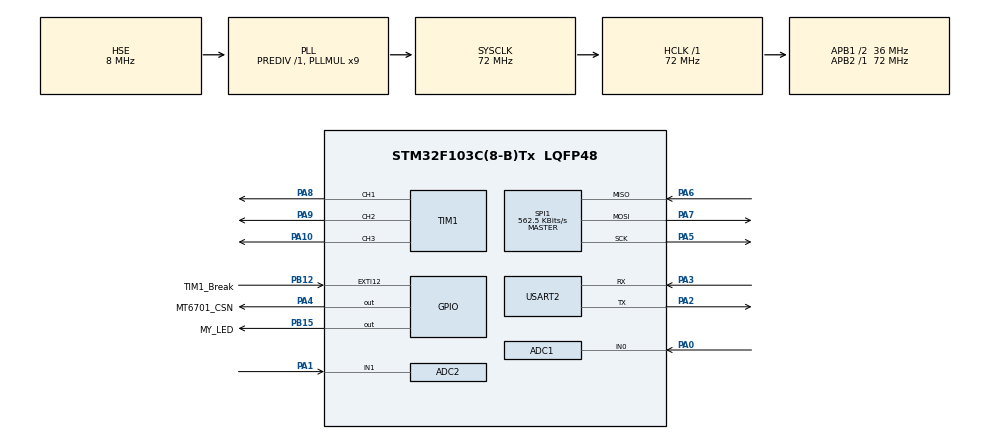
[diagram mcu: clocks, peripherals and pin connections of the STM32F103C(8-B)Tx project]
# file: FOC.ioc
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ADC1.Channel-1\#ChannelInjectedConversion=ADC_CHANNEL_0
ADC1.ContinuousConvMode=ENABLE
ADC1.EnableInjectedConversion=ENABLE
ADC1.EnableRegularConversion=DISABLE
ADC1.ExternalTrigInjecConv=ADC_EXTERNALTRIGINJECCONV_T1_TRGO
ADC1.InjNumberOfConversion=1
ADC1.InjectedOffset-1\#ChannelInjectedConversion=0
ADC1.InjectedRank-1\#ChannelInjectedConversion=1
ADC1.Mode=ADC_DUALMODE_INJECSIMULT
ADC1.SamplingTime-1\#ChannelInjectedConversion=ADC_SAMPLETIME_7CYCLES_5
ADC1.master=1
ADC2.Channel-2\#ChannelInjectedConversion=ADC_CHANNEL_1
ADC2.ContinuousConvMode=ENABLE
ADC2.EnableInjectedConversion=ENABLE
ADC2.EnableRegularConversion=DISABLE
ADC2.InjNumberOfConversion=1
ADC2.InjectedOffset-2\#ChannelInjectedConversion=0
ADC2.InjectedRank-2\#ChannelInjectedConversion=1
ADC2.Mode=ADC_DUALMODE_INJECSIMULT
ADC2.SamplingTime-2\#ChannelInjectedConversion=ADC_SAMPLETIME_7CYCLES_5
Dma.Request0=SPI1_RX
Dma.Request1=SPI1_TX
Dma.SPI1_RX.0.Direction=DMA_PERIPH_TO_MEMORY
Dma.SPI1_RX.0.Instance=DMA1_Channel2
Dma.SPI1_RX.0.MemDataAlignment=DMA_MDATAALIGN_BYTE
Dma.SPI1_RX.0.MemInc=DMA_MINC_ENABLE
Dma.SPI1_RX.0.Mode=DMA_NORMAL
Dma.SPI1_RX.0.PeriphDataAlignment=DMA_PDATAALIGN_BYTE
Dma.SPI1_RX.0.PeriphInc=DMA_PINC_DISABLE
Dma.SPI1_RX.0.Priority=DMA_PRIORITY_LOW
Dma.SPI1_TX.1.Direction=DMA_MEMORY_TO_PERIPH
Dma.SPI1_TX.1.Instance=DMA1_Channel3
Dma.SPI1_TX.1.MemDataAlignment=DMA_MDATAALIGN_BYTE
Dma.SPI1_TX.1.MemInc=DMA_MINC_ENABLE
Dma.SPI1_TX.1.Mode=DMA_NORMAL
Dma.SPI1_TX.1.PeriphDataAlignment=DMA_PDATAALIGN_BYTE
Dma.SPI1_TX.1.PeriphInc=DMA_PINC_DISABLE
Dma.SPI1_TX.1.Priority=DMA_PRIORITY_LOW
Mcu.Family=STM32F1
Mcu.Name=STM32F103C(8-B)Tx
Mcu.Package=LQFP48
Mcu.UserConstants=speed_calc_freq,motor_speed_calc_freq
NVIC.ADC1_2_IRQn=true\:1\:0\:true\:false\:true\:true\:true\:true
NVIC.DMA1_Channel2_IRQn=true\:0\:0\:false\:false\:true\:false\:true\:true
NVIC.DMA1_Channel3_IRQn=true\:0\:0\:false\:false\:true\:false\:true\:true
NVIC.EXTI15_10_IRQn=true\:3\:0\:true\:false\:true\:true\:true\:true
NVIC.PriorityGroup=NVIC_PRIORITYGROUP_4
NVIC.TIM3_IRQn=true\:1\:0\:true\:false\:true\:true\:true\:true
PA0-WKUP.Signal=ADCx_IN0
PA1.Signal=ADCx_IN1
PA10.Signal=S_TIM1_CH3
PA13.Mode=Serial_Wire
PA13.Signal=SYS_JTMS-SWDIO
PA14.Mode=Serial_Wire
PA14.Signal=SYS_JTCK-SWCLK
PA2.Mode=Asynchronous
PA2.Signal=USART2_TX
PA3.Mode=Asynchronous
PA3.Signal=USART2_RX
PA4.GPIO_Label=MT6701_CSN
PA4.Signal=GPIO_Output
PA5.Mode=Full_Duplex_Master
PA5.Signal=SPI1_SCK
PA6.Mode=Full_Duplex_Master
PA6.Signal=SPI1_MISO
PA7.Mode=Full_Duplex_Master
PA7.Signal=SPI1_MOSI
PA8.Signal=S_TIM1_CH1
PA9.Signal=S_TIM1_CH2
PB12.GPIO_Label=TIM1_Break
PB12.Signal=GPXTI12
PB15.GPIO_Label=MY_LED
PB15.Signal=GPIO_Output
PD0-OSC_IN.Mode=HSE-External-Oscillator
PD0-OSC_IN.Signal=RCC_OSC_IN
PD1-OSC_OUT.Mode=HSE-External-Oscillator
PD1-OSC_OUT.Signal=RCC_OSC_OUT
ProjectManager.HeapSize=0x200
ProjectManager.StackSize=0x400
ProjectManager.TargetToolchain=CMake
RCC.ADCPresc=RCC_ADCPCLK2_DIV6
RCC.AHBFreq_Value=72000000
RCC.APB1CLKDivider=RCC_HCLK_DIV2
RCC.APB1Freq_Value=36000000
RCC.APB1TimFreq_Value=72000000
RCC.APB2Freq_Value=72000000
RCC.APB2TimFreq_Value=72000000
RCC.HCLKFreq_Value=72000000
RCC.PLLMUL=RCC_PLL_MUL9
RCC.PLLSourceVirtual=RCC_PLLSOURCE_HSE
RCC.SYSCLKFreq_VALUE=72000000
RCC.SYSCLKSource=RCC_SYSCLKSOURCE_PLLCLK
RCC.USBFreq_Value=72000000
SH.ADCx_IN0.0=ADC1_IN0,IN0
SH.ADCx_IN1.0=ADC2_IN1,IN1
SH.S_TIM1_CH1.0=TIM1_CH1,PWM Generation1 CH1
SH.S_TIM1_CH2.0=TIM1_CH2,PWM Generation2 CH2
SH.S_TIM1_CH3.0=TIM1_CH3,PWM Generation3 CH3
SPI1.BaudRatePrescaler=SPI_BAUDRATEPRESCALER_128
SPI1.CLKPhase=SPI_PHASE_2EDGE
SPI1.CalculateBaudRate=562.5 KBits/s
SPI1.Direction=SPI_DIRECTION_2LINES
SPI1.Mode=SPI_MODE_MASTER
SPI1.VirtualType=VM_MASTER
STMicroelectronics.X-CUBE-ALGOBUILD.1.4.0.LibraryCcDSPOoLibraryJjDSPOoLibrary=true
TIM1.AutoReloadPreload=TIM_AUTORELOAD_PRELOAD_ENABLE
TIM1.BreakPolarity=TIM_BREAKPOLARITY_LOW
TIM1.Channel-PWM\ Generation1\ CH1=TIM_CHANNEL_1
TIM1.Channel-PWM\ Generation2\ CH2=TIM_CHANNEL_2
TIM1.Channel-PWM\ Generation3\ CH3=TIM_CHANNEL_3
TIM1.CounterMode=TIM_COUNTERMODE_CENTERALIGNED3
TIM1.Period=(72*1000000/motor_pwm_freq)
TIM1.RepetitionCounter=4
TIM1.TIM_MasterOutputTrigger=TIM_TRGO_UPDATE
TIM3.Period=65535
TIM3.Prescaler=72-1
USART2.VirtualMode=VM_ASYNC
VP_STMicroelectronics.X-CUBE-ALGOBUILD_VS_DSPOoLibraryJjLibrary_1.4.0_1.4.0.Mode=DSPOoLibraryJjLibrary
VP_TIM1_VS_ClockSourceINT.Mode=Internal
VP_TIM3_VS_ClockSourceINT.Mode=Internal
board=custom

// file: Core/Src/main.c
/* USER CODE BEGIN Header */
/**
  ******************************************************************************
  * @file           : main.c
  * @brief          : Main program body
  ******************************************************************************
  * @attention
  *
  * Copyright (c) 2026 STMicroelectronics.
  * All rights reserved.
  *
  * This software is licensed under terms that can be found in the LICENSE file
  * in the root directory of this software component.
  * If no LICENSE file comes with this software, it is provided AS-IS.
  *
  ******************************************************************************
  */
/* USER CODE END Header */
#include "main.h"
#include "adc.h"
#include "dma.h"
#include "spi.h"
#include "tim.h"
#include "usart.h"
#include "gpio.h"

/* USER CODE BEGIN Includes */
#include <stdio.h>
#include "motor_runtime_param.h"
#include "foc.h"
#include "global_def.h"
/* USER CODE END Includes */

void SystemClock_Config(void);

/* USER CODE BEGIN 0 */
void set_pwm_duty(float d_u, float d_v, float d_w)//通过以下函数设置占空比，可以同时给三个通道设置占空比，d_u,d_v,d_w的范围是0~1，分别对应UVW三相电机的三相绕组
{
  d_u = min(d_u, 0.9);//限制占空比最大值为0.9，防止过流
  d_v = min(d_v, 0.9);
  d_w = min(d_w, 0.9);
  __disable_irq();//关闭中断，防止在设置占空比的过程中被打断，导致占空比设置不一致
  //这里如果发生中断后，可能有短暂的U相更新，但另外两项没有更新，这会对电机产生不良影响
  __HAL_TIM_SET_COMPARE(&htim1, TIM_CHANNEL_1, d_u * htim1.Instance->ARR);//最后一项是占空比，范围是0~1，htim1.Instance->ARR是定时器的自动重装载寄存器的值，决定了PWM的频率
  __HAL_TIM_SET_COMPARE(&htim1, TIM_CHANNEL_2, d_v * htim1.Instance->ARR);
  __HAL_TIM_SET_COMPARE(&htim1, TIM_CHANNEL_3, d_w * htim1.Instance->ARR);//最后一项就是CCR的值，决定了PWM的占空比
  __enable_irq();//开启中断
}
/* USER CODE END 0 */

int main(void)
{

  /* MCU Configuration--------------------------------------------------------*/

  /* Reset of all peripherals, Initializes the Flash interface and the Systick. */
  HAL_Init();

  /* Configure the system clock */
  SystemClock_Config();

  /* Initialize all configured peripherals */
  MX_GPIO_Init();
  MX_DMA_Init();
  MX_SPI1_Init();
  MX_ADC1_Init();
  MX_ADC2_Init();
  MX_TIM1_Init();
  MX_TIM3_Init();
  MX_USART2_UART_Init();
  /* USER CODE BEGIN 2 */
  HAL_TIM_PWM_Start(&htim1, TIM_CHANNEL_1);//三个通道都要启动，用于输出三相PWM，分别对应UVW三相电机的三相绕组
  HAL_TIM_PWM_Start(&htim1, TIM_CHANNEL_2);
  HAL_TIM_PWM_Start(&htim1, TIM_CHANNEL_3);
  extern uint8_t mt6701_rx_data[3];
  HAL_GPIO_WritePin(GPIOA, GPIO_PIN_4, GPIO_PIN_RESET);
  HAL_SPI_TransmitReceive_DMA(&hspi1, mt6701_rx_data, mt6701_rx_data, 3);
  HAL_Delay(100); //延时一会，让角度变量被赋值，不然角度会是0
  /* USER CODE END 2 */

  /* Infinite loop */
  while (1)
  {

    /* USER CODE BEGIN 3 */
    for(size_t i=0;i<360;i++)
    {
      HAL_Delay(10);
      foc_forward(0, 1.0, deg2rad(i));
    }
    printf("%f\n", encoder_angle);
    HAL_Delay(100);
  }
  /* USER CODE END 3 */
}

void SystemClock_Config(void)
{
  RCC_OscInitTypeDef RCC_OscInitStruct = {0};
  RCC_ClkInitTypeDef RCC_ClkInitStruct = {0};
  RCC_PeriphCLKInitTypeDef PeriphClkInit = {0};

  /** Initializes the RCC Oscillators according to the specified parameters
  * in the RCC_OscInitTypeDef structure.
  */
  RCC_OscInitStruct.OscillatorType = RCC_OSCILLATORTYPE_HSE;
  RCC_OscInitStruct.HSEState = RCC_HSE_ON;
  RCC_OscInitStruct.HSEPredivValue = RCC_HSE_PREDIV_DIV1;
  RCC_OscInitStruct.HSIState = RCC_HSI_ON;
  RCC_OscInitStruct.PLL.PLLState = RCC_PLL_ON;
  RCC_OscInitStruct.PLL.PLLSource = RCC_PLLSOURCE_HSE;
  RCC_OscInitStruct.PLL.PLLMUL = RCC_PLL_MUL9;
  if (HAL_RCC_OscConfig(&RCC_OscInitStruct) != HAL_OK)
  {
    Error_Handler();
  }

  /** Initializes the CPU, AHB and APB buses clocks
  */
  RCC_ClkInitStruct.ClockType = RCC_CLOCKTYPE_HCLK|RCC_CLOCKTYPE_SYSCLK
                              |RCC_CLOCKTYPE_PCLK1|RCC_CLOCKTYPE_PCLK2;
  RCC_ClkInitStruct.SYSCLKSource = RCC_SYSCLKSOURCE_PLLCLK;
  RCC_ClkInitStruct.AHBCLKDivider = RCC_SYSCLK_DIV1;
  RCC_ClkInitStruct.APB1CLKDivider = RCC_HCLK_DIV2;
  RCC_ClkInitStruct.APB2CLKDivider = RCC_HCLK_DIV1;

  if (HAL_RCC_ClockConfig(&RCC_ClkInitStruct, FLASH_LATENCY_2) != HAL_OK)
  {
    Error_Handler();
  }
  PeriphClkInit.PeriphClockSelection = RCC_PERIPHCLK_ADC;
  PeriphClkInit.AdcClockSelection = RCC_ADCPCLK2_DIV6;
  if (HAL_RCCEx_PeriphCLKConfig(&PeriphClkInit) != HAL_OK)
  {
    Error_Handler();
  }
}

void Error_Handler(void)
{
  __disable_irq();
  while (1)
  {
  }
}
